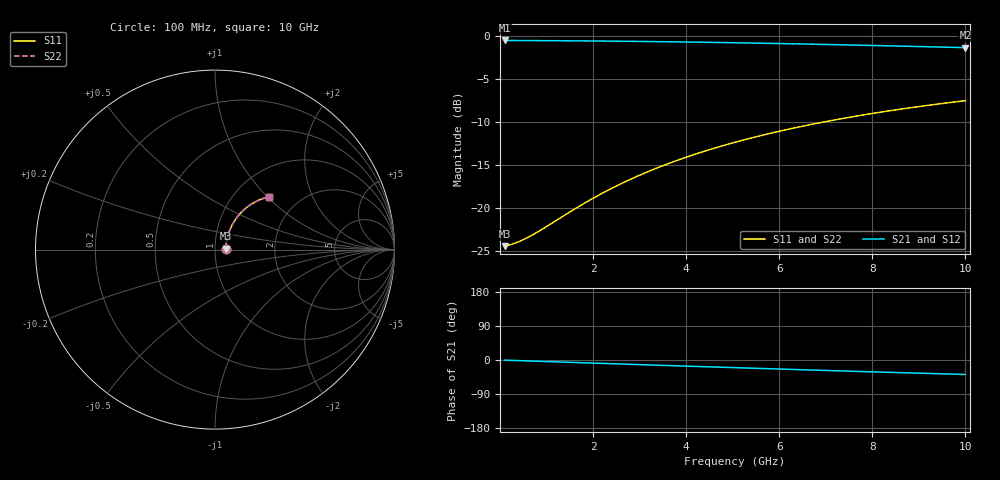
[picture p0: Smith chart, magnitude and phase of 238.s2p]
# Hz S RI R 50.00
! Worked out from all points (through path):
!   100 points, 100 MHz to 10 GHz, reference 50 ohm
!   highest |S21| = -0.53 dB at 100 MHz (marker M1); lowest = -1.4 dB at 10 GHz (marker M2)
!   group delay of S21, straight-line fit = 10.6 ps
!   lowest |S11| = -24.5 dB at 100 MHz (marker M3), VSWR 1.13, Z = 56.3 + j0.496 ohm
!   |S11| at or under -10 dB: start of sweep to 6.978 GHz
!   |S22| runs from -24.5 to -7.5 dB; largest |S21 - S12| = 0
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1e8  0.0596 0.00438  0.9404 -0.0067  0.9404 -0.0067  0.0596 0.00438
3e8  0.0605 0.0131  0.9395 -0.0201  0.9395 -0.0201  0.0605 0.0131
4e8  0.0609 0.0175  0.939 -0.0268  0.939 -0.0268  0.0609 0.0175
6e8  0.0619 0.0262  0.938 -0.0401  0.938 -0.0401  0.0619 0.0262
9e8  0.0637 0.0391  0.9361 -0.06  0.9361 -0.06  0.0637 0.0391
1.5e9  0.0687 0.0648  0.9306 -0.0996  0.9306 -0.0996  0.0687 0.0648
1.8e9  0.072 0.0773  0.9271 -0.1191  0.9271 -0.1191  0.072 0.0773
2.2e9  0.0771 0.0938  0.9215 -0.1449  0.9215 -0.1449  0.0771 0.0938
2.6e9  0.0831 0.11  0.9149 -0.1703  0.9149 -0.1703  0.0831 0.11
3e9  0.09 0.1256  0.9075 -0.1953  0.9075 -0.1953  0.09 0.1256
3.4e9  0.0977 0.1408  0.8991 -0.2198  0.8991 -0.2198  0.0977 0.1408
3.8e9  0.1061 0.1555  0.8898 -0.2438  0.8898 -0.2438  0.1061 0.1555
4.2e9  0.1153 0.1696  0.8797 -0.2672  0.8797 -0.2672  0.1153 0.1696
4.6e9  0.1252 0.183  0.8688 -0.29  0.8688 -0.29  0.1252 0.183
5.1e9  0.1384 0.1989  0.8542 -0.3176  0.8542 -0.3176  0.1384 0.1989
5.5e9  0.1497 0.2109  0.8418 -0.3389  0.8418 -0.3389  0.1497 0.2109
5.9e9  0.1615 0.2221  0.8287 -0.3595  0.8287 -0.3595  0.1615 0.2221
6.7e9  0.1864 0.2423  0.8009 -0.3986  0.8009 -0.3986  0.1864 0.2423
7.5e9  0.2127 0.2595  0.7713 -0.4346  0.7713 -0.4346  0.2127 0.2595
8.4e9  0.2436 0.2751  0.7362 -0.4716  0.7362 -0.4716  0.2436 0.2751
9.2e9  0.2717 0.2858  0.704 -0.5013  0.704 -0.5013  0.2717 0.2858
1e10  0.3001 0.2934  0.671 -0.5281  0.671 -0.5281  0.3001 0.2934
